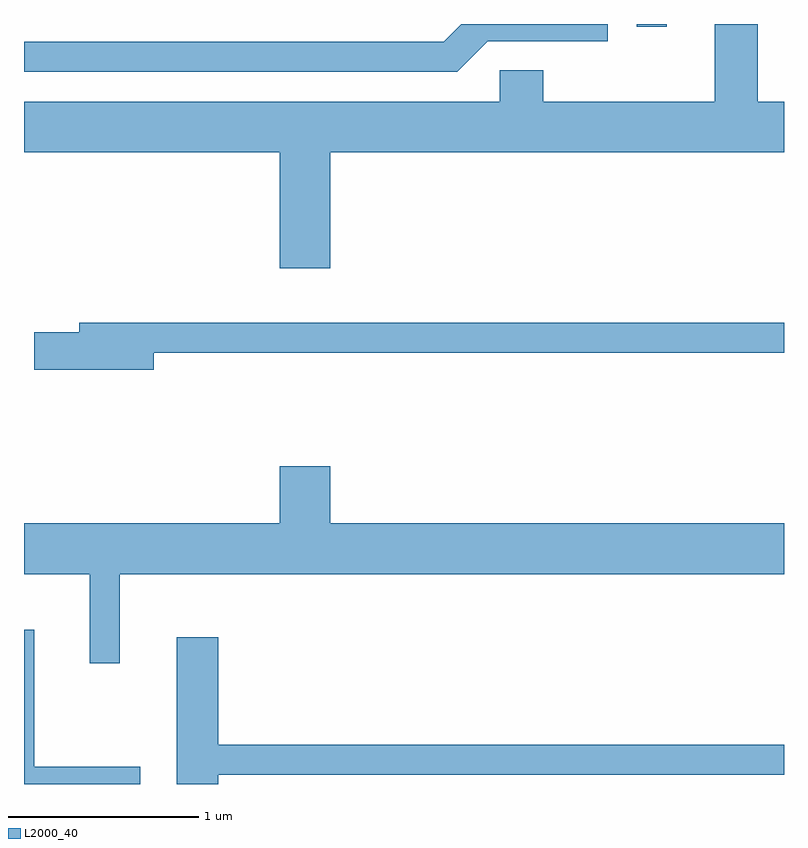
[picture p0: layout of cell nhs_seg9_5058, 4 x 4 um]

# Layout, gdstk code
import gdstk
lib = gdstk.Library(unit=1e-6, precision=1e-09)
def R(c, l, rs):  # rectangles x0, y0, x1, y1
    for r in rs: c.add(gdstk.rectangle(r[:2], r[2:], *l))
def P(c, l, *ps):  # polygons
    for p in ps: c.add(gdstk.Polygon(p, *l))
L2000_40 = (2000, 40)

nhs_seg9_5058 = lib.new_cell('nhs_seg9_5058')
R(nhs_seg9_5058, L2000_40, [(336.836,2052.418,336.994,2052.432)])
P(nhs_seg9_5058, L2000_40, [(335.224,2051.756),(337.611,2051.756),(337.611,2052.024),(337.474,2052.024),(337.474,2052.432),(337.246,2052.432),(337.246,2052.024),(336.344,2052.024),(336.344,2052.189),(336.116,2052.189),(336.116,2052.024),(333.611,2052.024),(333.611,2051.756),(334.956,2051.756),(334.956,2051.146),(335.224,2051.146)],
  [(336.052,2052.341),(336.684,2052.341),(336.684,2052.432),(335.912,2052.432),(335.819,2052.339),(333.611,2052.339),(333.611,2052.181),(335.892,2052.181)],
  [(334.294,2050.701),(337.611,2050.701),(337.611,2050.859),(333.901,2050.859),(333.901,2050.809),(333.666,2050.809),(333.666,2050.611),(334.294,2050.611)],
  [(334.114,2049.536),(337.611,2049.536),(337.611,2049.804),(335.224,2049.804),(335.224,2050.104),(334.956,2050.104),(334.956,2049.804),(333.611,2049.804),(333.611,2049.536),(333.956,2049.536),(333.956,2049.068),(334.114,2049.068)],
  [(334.224,2048.524),(333.664,2048.524),(333.664,2049.244),(333.611,2049.244),(333.611,2048.432),(334.224,2048.432)],
  [(334.634,2048.481),(337.611,2048.481),(337.611,2048.639),(334.634,2048.639),(334.634,2049.204),(334.416,2049.204),(334.416,2048.432),(334.634,2048.432)])

lib.write_gds('nhs_seg9_5058.gds')
